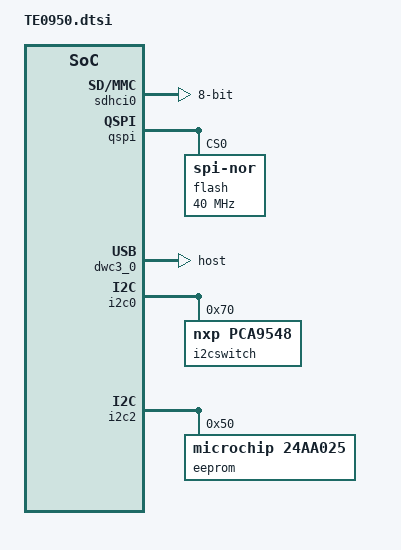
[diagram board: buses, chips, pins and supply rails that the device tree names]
/*------------------ eMMC --------------------*/
&sdhci0 {
	bus-width = <8>;
};

/*------------------ SD --------------------*/
&sdhci1 {
	no-1-8-v;
};

/*------------------ QSPI --------------------*/
&qspi {
	num-cs = <2>;

	flash@0 {
		compatible = "jedec,spi-nor";
		reg = <0>, <1>;
		parallel-memories = /bits/ 64 <0x8000000 0x8000000>; /* 128MB */
		spi-rx-bus-width = <4>;
		spi-tx-bus-width = <4>;
		spi-max-frequency = <40000000>; //40MHz no feedback pin

		#address-cells = <1>;
		#size-cells = <1>;
	};
};

/*------------------ GPIO MISC --------------------*/
&gpio0 {
	gpio-line-names = 
		"", "", "", "", "", "", "", "", "", "",
		"", "", "", "", "", "", "", "", "", "",
		"", "", "LPD_MIO22", "";
};
&gpio1 {
	gpio-line-names = 
		"", "", "", "", "", "", "", "", "", "",
		"", "", "", "", "", "", "", "", "", "",
		"", "", "", "", "", "", "", "PMC_MIO27", "", "",
		"", "", "", "", "", "", "", "USB_OC", "", "",
		"", "", "", "", "", "", "", "", "", "",
		"", "LED0", "", "", "", "", "", "", "", "";
};


/*------------------ USB --------------------*/
&dwc3_0 {
	dr_mode = "host";
};

/*------------------ I2C --------------------*/
&i2c0 {
	i2cswitch@70 { // Artix I2C MUX Emulations
		compatible = "nxp,pca9548";
		#address-cells = <1>;
		#size-cells = <0>;
		reg = <0x70>;
		i2c-mux-idle-disconnect;
 
		i2c_cruvi_hs1: i2c@0 { // CRUVI HS1 IIC
			reg = <0>;
		};
		i2c_cruvi_hs2: i2c@1 { // CRUVI HS2IIC
			reg = <1>;
		};
		i2c_qsfp: i2c@2 { // QSFP IIC
			reg = <2>;
		};
		i2c_fmc: i2c@3 { // FMC IIC
			reg = <3>;
		};
	};
};

&i2c2 {
	status = "okay";
  
	eeprom: eeprom@50 {
		compatible = "microchip,24aa025", "atmel,24c02";
		reg = <0x50>;
		
		#address-cells = <1>;
		#size-cells = <1>;
		eth0_addr: eth-mac-addr@FA {
			reg = <0xFA 0x06>;
		};
	};
};
